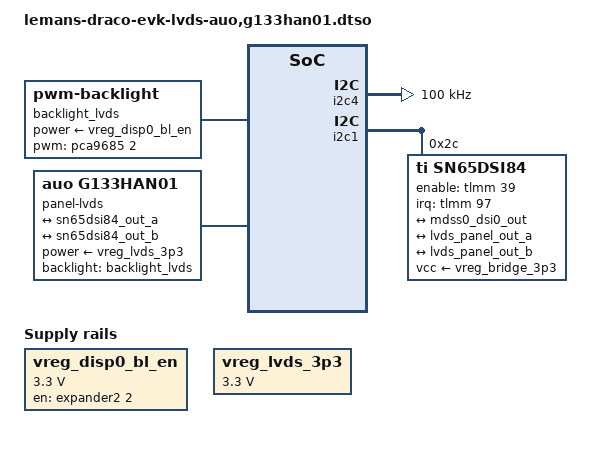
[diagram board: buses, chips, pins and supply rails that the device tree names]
// SPDX-License-Identifier: BSD-3-Clause
/*
 * Copyright (c) Qualcomm Technologies, Inc. and/or its subsidiaries.
 */

/dts-v1/;
/plugin/;

#include <dt-bindings/gpio/gpio.h>
#include <dt-bindings/interrupt-controller/irq.h>

&{/} {
	vreg_disp0_bl_en: regulator-disp0-bl-en {
		compatible = "regulator-fixed";
		regulator-name = "vreg_disp0_bl_en";
		regulator-min-microvolt = <3300000>;
		regulator-max-microvolt = <3300000>;
		gpio = <&expander2 2 GPIO_ACTIVE_HIGH>;
		enable-active-high;
	};

	vreg_lvds_3p3: regulator-lvds-3p3 {
		compatible = "regulator-fixed";
		regulator-name = "vreg_lvds_3p3";
		regulator-min-microvolt = <3300000>;
		regulator-max-microvolt = <3300000>;
	};

	backlight_lvds: backlight {
		compatible = "pwm-backlight";
		pwms = <&pca9685 2 1000000>;
		power-supply = <&vreg_disp0_bl_en>;
	};

	panel-lvds {
		compatible = "auo,g133han01";
		power-supply = <&vreg_lvds_3p3>;
		backlight = <&backlight_lvds>;

		ports {
			#address-cells = <1>;
			#size-cells = <0>;

			/* LVDS Channel A - odd pixels */
			port@0 {
				reg = <0>;
				dual-lvds-odd-pixels;

				lvds_panel_out_a: endpoint {
					remote-endpoint = <&sn65dsi84_out_a>;
				};
			};

			/* LVDS Channel B - even pixels */
			port@1 {
				reg = <1>;
				dual-lvds-even-pixels;

				lvds_panel_out_b: endpoint {
					remote-endpoint = <&sn65dsi84_out_b>;
				};
			};
		};
	};
};

&vreg_bridge_1p2 {
	/delete-property/ gpio;
	/delete-property/ enable-active-high;
	vin-supply = <&vreg_bridge_3p3>;
};

&i2c4 {
	clock-frequency = <100000>;
	status = "okay";

	pca9685: pwm@42 {
		compatible = "nxp,pca9685-pwm";
		reg = <0x42>;
		#pwm-cells = <2>;
	};
};

&i2c1 {
	i2c-mux@70 {
		#address-cells = <1>;
		#size-cells = <0>;

		i2c@1 {
			reg = <1>;
			#address-cells = <1>;
			#size-cells = <0>;

			sn65dsi84: bridge@2c {
				compatible = "ti,sn65dsi84";
				reg = <0x2c>;

				enable-gpios = <&tlmm 39 GPIO_ACTIVE_HIGH>;
				interrupts-extended = <&tlmm 97 IRQ_TYPE_EDGE_FALLING>;

				vcc-supply = <&vreg_bridge_3p3>;

				pinctrl-0 = <&bridge_rst_pin &bridge_irq_pin>;
				pinctrl-names = "default";

				ports {
					#address-cells = <1>;
					#size-cells = <0>;

					port@0 {
						reg = <0>;

						sn65dsi84_in: endpoint {
							data-lanes = <1 2 3 4>;
							remote-endpoint = <&mdss0_dsi0_out>;
						};
					};

					port@2 {
						reg = <2>;

						sn65dsi84_out_a: endpoint {
							data-lanes = <1 2 3 4>;
							remote-endpoint = <&lvds_panel_out_a>;
						};
					};

					port@3 {
						reg = <3>;

						sn65dsi84_out_b: endpoint {
							data-lanes = <1 2 3 4>;
							remote-endpoint = <&lvds_panel_out_b>;
						};
					};
				};
			};
		};
	};
};

&hdmi_connector {
	status = "disabled";
};

&lt9611uxd {
	status = "disabled";
};

&mdss0_dsi0_out {
	remote-endpoint = <&sn65dsi84_in>;
};
